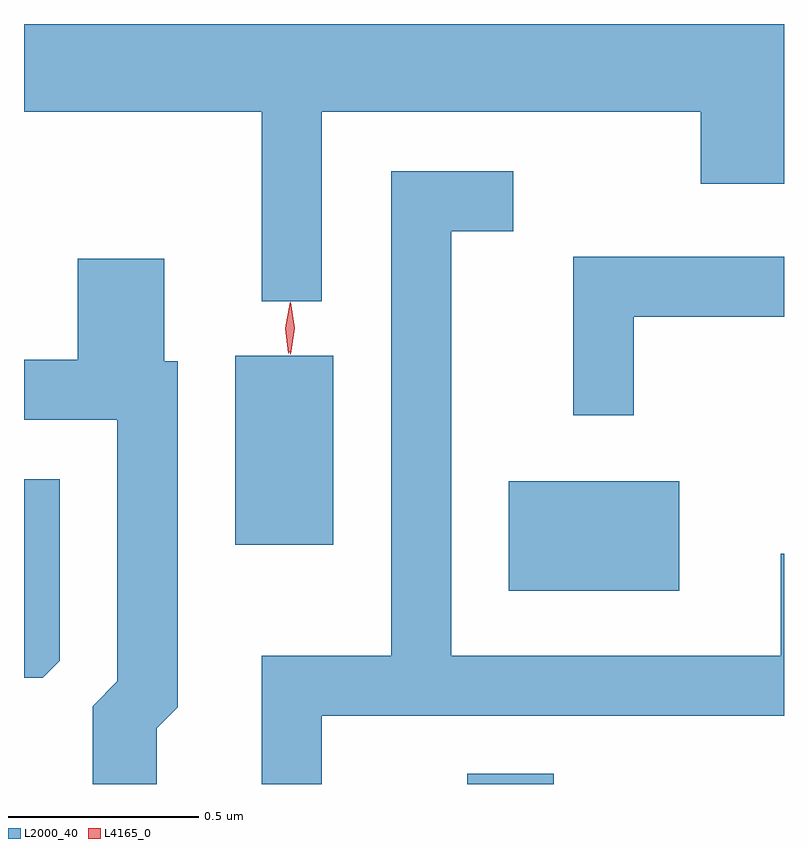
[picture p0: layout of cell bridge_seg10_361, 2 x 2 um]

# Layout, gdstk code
import gdstk
lib = gdstk.Library(unit=1e-6, precision=1e-09)
def R(c, l, rs):  # rectangles x0, y0, x1, y1
    for r in rs: c.add(gdstk.rectangle(r[:2], r[2:], *l))
def P(c, l, *ps):  # polygons
    for p in ps: c.add(gdstk.Polygon(p, *l))
L2000_40 = (2000, 40)
L4165_0 = (4165, 0)

bridge_seg10_361 = lib.new_cell('bridge_seg10_361')
R(bridge_seg10_361, L2000_40, [(1351.796,2160.987,1352.024,2161.014), (1351.906,2161.496,1352.354,2161.784), (1351.186,2161.616,1351.444,2162.114)])
P(bridge_seg10_361, L2000_40, [(1351.414,2162.756),(1352.411,2162.756),(1352.411,2162.566),(1352.63,2162.566),(1352.63,2162.987),(1350.63,2162.987),(1350.63,2162.756),(1351.256,2162.756),(1351.256,2162.258),(1351.414,2162.258)],
  [(1351.414,2161.166),(1352.63,2161.166),(1352.63,2161.593),(1352.621,2161.593),(1352.621,2161.324),(1351.754,2161.324),(1351.754,2162.441),(1351.918,2162.441),(1351.918,2162.599),(1351.596,2162.599),(1351.596,2161.324),(1351.256,2161.324),(1351.256,2160.987),(1351.414,2160.987)],
  [(1352.234,2162.216),(1352.63,2162.216),(1352.63,2162.374),(1352.076,2162.374),(1352.076,2161.958),(1352.234,2161.958)],
  [(1350.979,2161.134),(1351.034,2161.189),(1351.034,2162.099),(1350.999,2162.099),(1350.999,2162.369),(1350.771,2162.369),(1350.771,2162.104),(1350.63,2162.104),(1350.63,2161.946),(1350.876,2161.946),(1350.876,2161.257),(1350.811,2161.192),(1350.811,2160.987),(1350.979,2160.987)],
  [(1350.724,2161.312),(1350.724,2161.789),(1350.63,2161.789),(1350.63,2161.266),(1350.679,2161.266)])
P(bridge_seg10_361, L4165_0, [(1351.331,2162.118),(1351.322,2162.186),(1351.331,2162.255),(1351.332,2162.255),(1351.332,2162.255),(1351.342,2162.186),(1351.332,2162.118),(1351.332,2162.118)],
  [(1351.326,2162.121),(1351.326,2162.121),(1351.318,2162.186),(1351.329,2162.251),(1351.329,2162.252),(1351.33,2162.251),(1351.338,2162.186),(1351.327,2162.121)])

lib.write_gds('bridge_seg10_361.gds')
